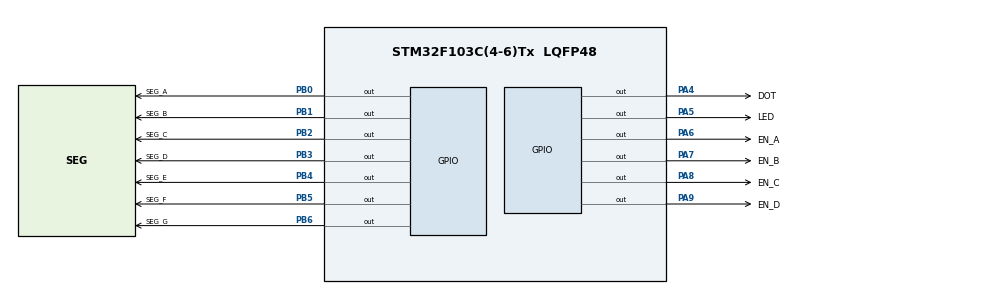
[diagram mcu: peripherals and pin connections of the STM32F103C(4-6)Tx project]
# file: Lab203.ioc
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Mcu.Family=STM32F1
Mcu.Name=STM32F103C(4-6)Tx
Mcu.Package=LQFP48
NVIC.PriorityGroup=NVIC_PRIORITYGROUP_4
NVIC.TIM2_IRQn=true\:0\:0\:false\:false\:true\:true\:true\:true
PA4.GPIO_Label=DOT
PA4.Signal=GPIO_Output
PA5.GPIO_Label=LED
PA5.Signal=GPIO_Output
PA6.GPIO_Label=EN_A
PA6.Signal=GPIO_Output
PA7.GPIO_Label=EN_B
PA7.Signal=GPIO_Output
PA8.GPIO_Label=EN_C
PA8.Signal=GPIO_Output
PA9.GPIO_Label=EN_D
PA9.Signal=GPIO_Output
PB0.GPIO_Label=SEG_A
PB0.Signal=GPIO_Output
PB1.GPIO_Label=SEG_B
PB1.Signal=GPIO_Output
PB2.GPIO_Label=SEG_C
PB2.Signal=GPIO_Output
PB3.GPIO_Label=SEG_D
PB3.Signal=GPIO_Output
PB4.GPIO_Label=SEG_E
PB4.Signal=GPIO_Output
PB5.GPIO_Label=SEG_F
PB5.Signal=GPIO_Output
PB6.GPIO_Label=SEG_G
PB6.Signal=GPIO_Output
ProjectManager.HeapSize=0x200
ProjectManager.StackSize=0x400
ProjectManager.TargetToolchain=STM32CubeIDE
RCC.APB1Freq_Value=8000000
RCC.APB2Freq_Value=8000000
TIM2.Period=2
TIM2.Prescaler=7999
VP_TIM2_VS_ClockSourceINT.Mode=Internal
board=custom

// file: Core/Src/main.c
/* USER CODE BEGIN Header */
/**
  ******************************************************************************
  * @file           : main.c
  * @brief          : Main program body
  ******************************************************************************
  * @attention
  *
  * Copyright (c) 2022 STMicroelectronics.
  * All rights reserved.
  *
  * This software is licensed under terms that can be found in the LICENSE file
  * in the root directory of this software component.
  * If no LICENSE file comes with this software, it is provided AS-IS.
  *
  ******************************************************************************
  */
/* USER CODE END Header */
#include "main.h"
#include "7seg.h"

TIM_HandleTypeDef htim2;

void SystemClock_Config(void);
static void MX_GPIO_Init(void);
static void MX_TIM2_Init(void);

/* USER CODE BEGIN 0 */
void HAL_TIM_PeriodElapsedCallback(TIM_HandleTypeDef *htim);

/* USER CODE END 0 */

int main(void)
{

  /* MCU Configuration--------------------------------------------------------*/

  /* Reset of all peripherals, Initializes the Flash interface and the Systick. */
  HAL_Init();

  /* Configure the system clock */
  SystemClock_Config();

  /* Initialize all configured peripherals */
  MX_GPIO_Init();
  MX_TIM2_Init();
  /* USER CODE BEGIN 2 */
  HAL_TIM_Base_Start_IT (& htim2 );
  /* USER CODE END 2 */

  /* Infinite loop */
  while (1)
  {

  }
}

void SystemClock_Config(void)
{
  RCC_OscInitTypeDef RCC_OscInitStruct = {0};
  RCC_ClkInitTypeDef RCC_ClkInitStruct = {0};

  /** Initializes the RCC Oscillators according to the specified parameters
  * in the RCC_OscInitTypeDef structure.
  */
  RCC_OscInitStruct.OscillatorType = RCC_OSCILLATORTYPE_HSI;
  RCC_OscInitStruct.HSIState = RCC_HSI_ON;
  RCC_OscInitStruct.HSICalibrationValue = RCC_HSICALIBRATION_DEFAULT;
  RCC_OscInitStruct.PLL.PLLState = RCC_PLL_NONE;
  if (HAL_RCC_OscConfig(&RCC_OscInitStruct) != HAL_OK)
  {
    Error_Handler();
  }

  /** Initializes the CPU, AHB and APB buses clocks
  */
  RCC_ClkInitStruct.ClockType = RCC_CLOCKTYPE_HCLK|RCC_CLOCKTYPE_SYSCLK
                              |RCC_CLOCKTYPE_PCLK1|RCC_CLOCKTYPE_PCLK2;
  RCC_ClkInitStruct.SYSCLKSource = RCC_SYSCLKSOURCE_HSI;
  RCC_ClkInitStruct.AHBCLKDivider = RCC_SYSCLK_DIV1;
  RCC_ClkInitStruct.APB1CLKDivider = RCC_HCLK_DIV1;
  RCC_ClkInitStruct.APB2CLKDivider = RCC_HCLK_DIV1;

  if (HAL_RCC_ClockConfig(&RCC_ClkInitStruct, FLASH_LATENCY_0) != HAL_OK)
  {
    Error_Handler();
  }
}

static void MX_TIM2_Init(void)
{

  TIM_ClockConfigTypeDef sClockSourceConfig = {0};
  TIM_MasterConfigTypeDef sMasterConfig = {0};

  htim2.Instance = TIM2;
  htim2.Init.Prescaler = 7999;
  htim2.Init.CounterMode = TIM_COUNTERMODE_UP;
  htim2.Init.Period = 2;
  htim2.Init.ClockDivision = TIM_CLOCKDIVISION_DIV1;
  htim2.Init.AutoReloadPreload = TIM_AUTORELOAD_PRELOAD_DISABLE;
  if (HAL_TIM_Base_Init(&htim2) != HAL_OK)
  {
    Error_Handler();
  }
  sClockSourceConfig.ClockSource = TIM_CLOCKSOURCE_INTERNAL;
  if (HAL_TIM_ConfigClockSource(&htim2, &sClockSourceConfig) != HAL_OK)
  {
    Error_Handler();
  }
  sMasterConfig.MasterOutputTrigger = TIM_TRGO_RESET;
  sMasterConfig.MasterSlaveMode = TIM_MASTERSLAVEMODE_DISABLE;
  if (HAL_TIMEx_MasterConfigSynchronization(&htim2, &sMasterConfig) != HAL_OK)
  {
    Error_Handler();
  }

}

static void MX_GPIO_Init(void)
{
  GPIO_InitTypeDef GPIO_InitStruct = {0};

  /* GPIO Ports Clock Enable */
  __HAL_RCC_GPIOA_CLK_ENABLE();
  __HAL_RCC_GPIOB_CLK_ENABLE();

  /*Configure GPIO pin Output Level */
  HAL_GPIO_WritePin(GPIOA, DOT_Pin|LED_Pin|EN_A_Pin|EN_B_Pin
                          |EN_C_Pin|EN_D_Pin, GPIO_PIN_RESET);

  /*Configure GPIO pin Output Level */
  HAL_GPIO_WritePin(GPIOB, SEG_A_Pin|SEG_B_Pin|SEG_C_Pin|SEG_D_Pin
                          |SEG_E_Pin|SEG_F_Pin|SEG_G_Pin, GPIO_PIN_RESET);

  /*Configure GPIO pins : DOT_Pin LED_Pin EN_A_Pin EN_B_Pin
                           EN_C_Pin EN_D_Pin */
  GPIO_InitStruct.Pin = DOT_Pin|LED_Pin|EN_A_Pin|EN_B_Pin
                          |EN_C_Pin|EN_D_Pin;
  GPIO_InitStruct.Mode = GPIO_MODE_OUTPUT_PP;
  GPIO_InitStruct.Pull = GPIO_NOPULL;
  GPIO_InitStruct.Speed = GPIO_SPEED_FREQ_LOW;
  HAL_GPIO_Init(GPIOA, &GPIO_InitStruct);

  /*Configure GPIO pins : SEG_A_Pin SEG_B_Pin SEG_C_Pin SEG_D_Pin
                           SEG_E_Pin SEG_F_Pin SEG_G_Pin */
  GPIO_InitStruct.Pin = SEG_A_Pin|SEG_B_Pin|SEG_C_Pin|SEG_D_Pin
                          |SEG_E_Pin|SEG_F_Pin|SEG_G_Pin;
  GPIO_InitStruct.Mode = GPIO_MODE_OUTPUT_PP;
  GPIO_InitStruct.Pull = GPIO_NOPULL;
  GPIO_InitStruct.Speed = GPIO_SPEED_FREQ_LOW;
  HAL_GPIO_Init(GPIOB, &GPIO_InitStruct);

}

/* USER CODE BEGIN 4 */
int counter = 50;
int index_led = 0;
int led_single = 0;
void HAL_TIM_PeriodElapsedCallback(TIM_HandleTypeDef *htim){
	if (counter >= 0) {
		counter--;
	}
	if (counter == 0) {
		update7SEG(index_led++);
		counter = 50;
	}
	led_single++;
	if (led_single == 2) {
		HAL_GPIO_TogglePin(GPIOA, DOT_Pin);
		led_single = 0;
	}
}

/* USER CODE END 4 */

void Error_Handler(void)
{
  __disable_irq();
  while (1)
  {
  }
}
